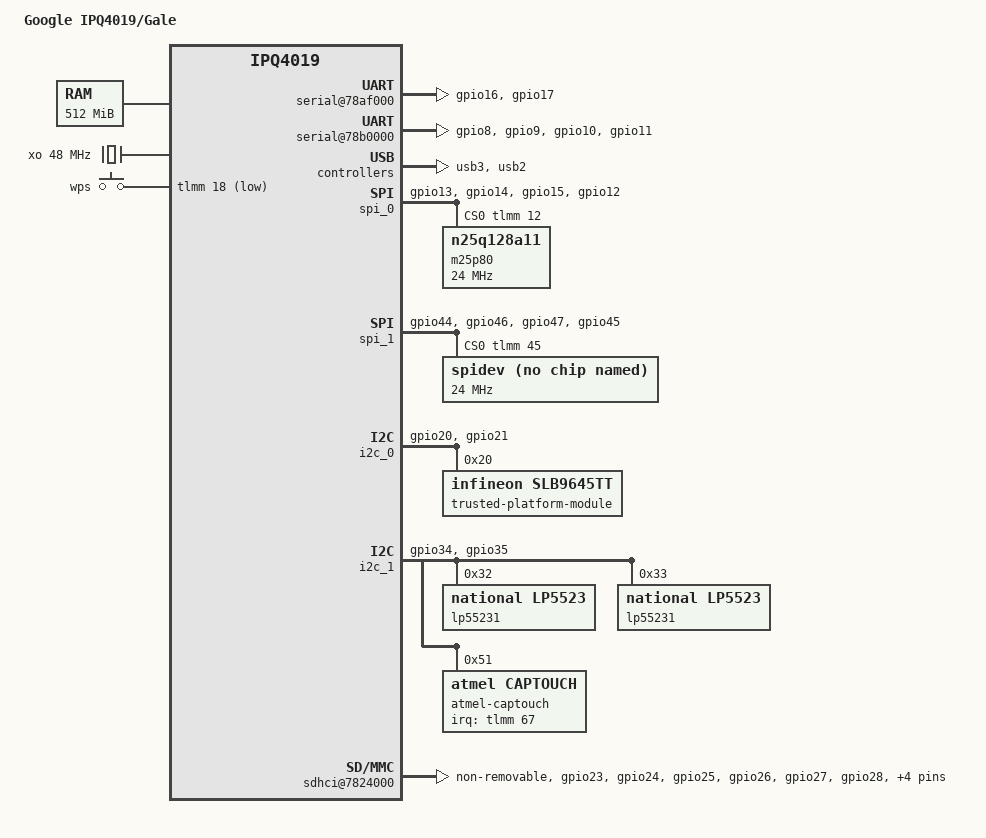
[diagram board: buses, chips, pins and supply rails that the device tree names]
/* Copyright (c) 2016, The Linux Foundation. All rights reserved.
 * Copyright (c) 2016 Google, Inc
 *
 * This program is free software; you can redistribute it and/or modify
 * it under the terms of the GNU General Public License version 2 as
 * published by the Free Software Foundation.
 */

#include "qcom-ipq4019.dtsi"
#include <dt-bindings/input/input.h>
#include <dt-bindings/gpio/gpio.h>

/ {
	model = "Google IPQ4019/Gale";
	compatible = "google,gale", "qcom,ipq4019";

	memory {
		device_type = "memory";
		reg = <0x80000000 0x20000000>; /* 512MB */
	};

	clocks {
		xo: xo {
			compatible = "fixed-clock";
			clock-frequency = <48000000>;
			#clock-cells = <0>;
		};
	};

	reserved-memory {
		#address-cells = <1>;
		#size-cells = <1>;
		ranges;
		rsvd@87000000 {
			/* Reserved for other subsystem */
			reg = <0x87000000 0x01000000>;
			no-map;
		};
	};

	firmware {
		chromeos {
			pinctrl-0 = <&fw_pins>;
			pinctrl-names = "default";
			write-protect-gpio = <&tlmm 6 GPIO_ACTIVE_LOW>;
			recovery-switch = <&tlmm 7 GPIO_ACTIVE_LOW>;
			developer-switch = <&tlmm 41 GPIO_ACTIVE_LOW>;
		};
	};

	soc {

		pinctrl@0x01000000 {

			fw_pins: fw_pinmux {
				wp {
					pins = "gpio6";
					output-low;
				};
				recovery {
					pins = "gpio7";
					bias-none;
				};
				developer {
					pins = "gpio41";
					bias-none;
				};
			};

			reset802_15_4 {
					pins = "gpio40";
			};

			led_reset {
					pins = "gpio22";
					bias-pull,up;
			};

			sys_reset {
					pins = "gpio19";
					output-high;
			};

			rx_active {
					pins = "gpio43";
					bias-pull,down;
			};

			spi_0_pins: spi_0_pinmux {
				pinmux {
					function = "blsp_spi0";
					pins = "gpio13", "gpio14","gpio15";
				};
				pinmux_cs {
					function = "gpio";
					pins = "gpio12";
				};
				pinconf {
					pins = "gpio13", "gpio14","gpio15";
					drive-strength = <12>;
					bias-disable;
				};
				pinconf_cs {
					pins = "gpio12";
					drive-strength = <2>;
					bias-disable;
					output-high;
				};
			};

			spi_1_pins: spi_1_pinmux {
				pinmux {
					function = "blsp_spi1";
					pins = "gpio44", "gpio46","gpio47";
				};
				pinmux_cs {
					function = "gpio";
					pins = "gpio45";
				};
				pinconf {
					pins = "gpio44", "gpio46","gpio47";
					drive-strength = <12>;
					bias-disable;
				};
				pinconf_cs {
					pins = "gpio45";
					drive-strength = <2>;
					bias-disable;
					output-high;
				};
			};

			serial_0_pins: serial0_pinmux {
				mux {
					pins = "gpio16", "gpio17";
					function = "blsp_uart0";
					bias-disable;
				};
			};

			serial_1_pins: serial1_pinmux {
				mux {
					pins = "gpio8", "gpio9", "gpio10", "gpio11";
					function = "blsp_uart1";
					bias-disable;
				};
			};

			i2c_0_pins: i2c_0_pinmux {
				mux {
					pins = "gpio20", "gpio21";
					function = "blsp_i2c0";
					bias-disable;
				};
			};

			i2c_1_pins: i2c_1_pinmux {
				mux {
					pins = "gpio34", "gpio35";
					function = "blsp_i2c1";
					bias-disable;
				};
			};

			sd_0_pins: sd_0_pinmux {
				sd0 {
					pins = "gpio23";
					function = "sdio0";
					drive-strength = <10>;
				};
				sd1 {
					pins = "gpio24";
					function = "sdio1";
					drive-strength = <10>;
				};
				sd2 {
					pins = "gpio25";
					function = "sdio2";
					drive-strength = <10>;
				};
				sd3 {
					pins = "gpio26";
					function = "sdio3";
					drive-strength = <10>;
				};
				sdclk {
					pins = "gpio27";
					function = "sdio_clk";
					drive-strength = <16>;
				};
				sdcmd {
					pins = "gpio28";
					function = "sdio_cmd";
					drive-strength = <10>;
				};
				sd4 {
					pins = "gpio29";
					function = "sdio4";
					drive-strength = <10>;
				};
				sd5 {
					pins = "gpio30";
					function = "sdio5";
					drive-strength = <10>;
				};
				sd6 {
					pins = "gpio31";
					function = "sdio6";
					drive-strength = <10>;
				};
				sd7 {
					pins = "gpio32";
					function = "sdio7";
					drive-strength = <10>;
					bias-disable;
				};
			};
		};

		blsp_dma: dma@7884000 {
			status = "ok";
		};

		serial@78af000 {
			pinctrl-0 = <&serial_0_pins>;
			pinctrl-names = "default";
			status = "ok";
		};

		serial@78b0000 {
			pinctrl-0 = <&serial_1_pins>;
			pinctrl-names = "default";
			status = "ok";
		};


		usb3_ss_phy: ssphy@0 {
			status = "ok";
		};

		dummy_ss_phy: ssphy@1 {
			status = "ok";
		};

		usb3_hs_phy: hsphy@a6000 {
			status = "ok";
		};

		usb2_hs_phy: hsphy@a8000 {
			status = "ok";
		};

		usb3: usb3@8a00000 {
			status = "ok";
		};

		usb2: usb2@6000000 {
			status = "ok";
		};

		spi_0: spi@78b5000 { /* BLSP1 QUP1 */
			pinctrl-0 = <&spi_0_pins>;
			pinctrl-names = "default";
			status = "ok";
			cs-gpios = <&tlmm 12 0>;

			m25p80@0 {
				#address-cells = <1>;
				#size-cells = <1>;
				reg = <0>;
				compatible = "n25q128a11";
				linux,modalias = "m25p80", "n25q128a11";
				spi-max-frequency = <24000000>;
				use-default-sizes;
			};
		};

		spi_1: spi@78b6000 { /* BLSP1 QUP2 */
			pinctrl-0 = <&spi_1_pins>;
			pinctrl-names = "default";
			status = "ok";
			cs-gpios = <&tlmm 45 0>;

			spidev@0 {
				compatible = "spidev";
				reg = <0>;
				spi-max-frequency = <24000000>;
			};
		};

		i2c_0: i2c@78b7000 { /* BLSP1 QUP2 */
			pinctrl-0 = <&i2c_0_pins>;
			pinctrl-names = "default";
			status = "ok";
			trusted-platform-module {
				compatible = "infineon,slb9645tt";
				reg = <0x20>;
				powered-while-suspended;
			};
		};

		i2c_1: i2c@78b8000 { /* BLSP1 QUP3 */
			pinctrl-0 = <&i2c_1_pins>;
			pinctrl-names = "default";
			status = "ok";
			lp55231@32 {
				compatible = "national,lp5523";
				reg = <0x32>;
				clock-mode = [01];

				chan0 {
					chan-name = "LED0_Red";
					led-cur = [64];
					max-cur = [78];
				};

				chan1 {
					chan-name = "LED0_Green";
					led-cur = [64];
					max-cur = [78];
				};

				chan2 {
					chan-name = "LED0_Blue";
					led-cur = [64];
					max-cur = [78];
				};

				chan3 {
					chan-name = "LED1_Red";
					led-cur = [64];
					max-cur = [78];
				};

				chan4 {
					chan-name = "LED1_Green";
					led-cur = [64];
					max-cur = [78];
				};

				chan5 {
					chan-name = "LED1_Blue";
					led-cur = [64];
					max-cur = [78];
				};

				chan6 {
					chan-name = "LED2_Red";
					led-cur = [64];
					max-cur = [78];
				};

				chan7 {
					chan-name = "LED2_Green";
					led-cur = [64];
					max-cur = [78];
				};

				chan8 {
					chan-name = "LED2_Blue";
					led-cur = [64];
					max-cur = [78];
				};
			};

			lp55231@33 {
				compatible = "national,lp5523";
				reg = <0x33>;
				clock-mode = [01];

				chan0 {
					chan-name = "LED3_Red";
					led-cur = [64];
					max-cur = [78];
				};

				chan1 {
					chan-name = "LED3_Green";
					led-cur = [64];
					max-cur = [78];
				};

				chan2 {
					chan-name = "LED3_Blue";
					led-cur = [64];
					max-cur = [78];
				};

				chan3 {
					chan-name = "LED4_Red";
					led-cur = [64];
					max-cur = [78];
				};

				chan4 {
					chan-name = "LED4_Green";
					led-cur = [64];
					max-cur = [78];
				};

				chan5 {
					chan-name = "LED4_Blue";
					led-cur = [64];
					max-cur = [78];
				};

				chan6 {
					chan-name = "LED5_Red";
					led-cur = [64];
					max-cur = [78];
				};

				chan7 {
					chan-name = "LED5_Green";
					led-cur = [64];
					max-cur = [78];
				};

				chan8 {
					chan-name = "LED5_Blue";
					led-cur = [64];
					max-cur = [78];
				};
			};

			atmel-captouch@51 {
				compatible = "atmel,captouch";
				reg = <0x51>;
				interrupt-parent = <&tlmm>;
				interrupts = <67 IRQ_TYPE_EDGE_FALLING>;
				linux,keycodes = <BTN_0>, <BTN_1>,
					<BTN_2>, <BTN_3>,
					<BTN_4>, <BTN_5>,
					<BTN_6>, <BTN_7>;
			};
		};

		qcom_crypto: qcrypto@8e20000 {
			status = "ok";
		};

		qcom_cedev: qcedev@8e20000 {
			status = "ok";
		};

		usb3: usb3@8a00000 {
			status = "ok";
		};

		usb2: usb2@6000000 {
			status = "ok";
		};

		vccq_sd0: regulator@0 {
			status = "ok";
		};

		sdhci@7824000 {
			status = "ok";
			pinctrl-0 = <&sd_0_pins>;
			pinctrl-names = "default";
			vqmmc-supply = <&vccq_sd0>;
			non-removable;
		};

		gpio_keys {
			compatible = "gpio-keys";

			button@1 {
				label = "wps";
				linux,code = <KEY_WPS_BUTTON>;
				gpios = <&tlmm 18 GPIO_ACTIVE_LOW>;
				linux,input-type = <1>;
			};
		};

		adau7002: adau7002@0 {
			compatible = "adi,adau7002";
			status = "ok";
		};
	};
};
